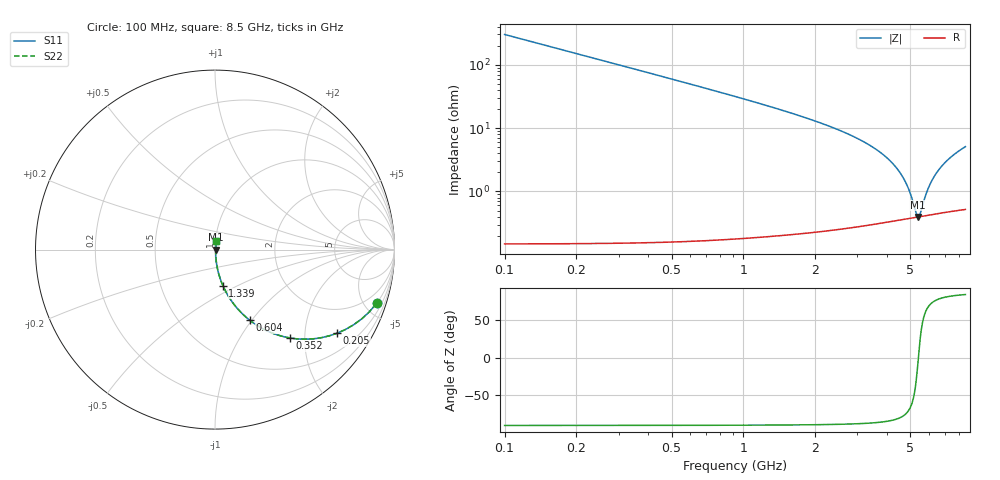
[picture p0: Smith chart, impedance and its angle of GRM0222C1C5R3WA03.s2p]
!Murata Part Number: GRM0222C1C5R3WA03
!These Parameters are Measured in Series Mode Connection
!Data Generated on Mar 30, 2021
!  o--ll--o
!Port1  Port2
!  o------o
!Operation Temp=25[degC], DC Bias Voltage=0[V]
!Freq. Start=100[MHz] Stop=9[GHz] 401[Steps]
# Hz S RI R 50
!Freq.(Hz) S11(Real) S11(Imag) S21(Real) S21(Imag) S12(Real) S12(Imag) S22(Real) S22(Imag)
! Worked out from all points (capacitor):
!   401 points, 100 MHz to 8.5 GHz, reference 50 ohm
!   read as one part in series: C = 5.3 pF near 142 MHz
!   lowest |Z| = 397 mohm at 5.392 GHz (marker M1)
!   series resonance near 5.402 GHz, so ESL is about 160 pH
!   S11 on the Smith chart (normalised r, x): 100 MHz: 1.00, -6.00; 205 MHz: 1.00, -2.93; 352 MHz: 1.00, -1.70; 604 MHz: 1.00, -0.98; 1.339 GHz: 1.00, -0.42; 8.5 GHz: 1.01, +0.10
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1e8  0.9 -0.2998  0.1 0.2998  0.1 0.2998  0.9 -0.2998
2.05e8  0.6813 -0.4655  0.3187 0.4655  0.3187 0.4655  0.6813 -0.4655
3.52e8  0.4192 -0.4925  0.5808 0.4925  0.5808 0.4925  0.4192 -0.4925
4.78e8  0.2801 -0.4478  0.7199 0.4478  0.7199 0.4478  0.2801 -0.4478
6.04e8  0.1948 -0.3944  0.8052 0.3944  0.8052 0.3944  0.1948 -0.3944
8.98e8  0.0967 -0.2928  0.9033 0.2928  0.9033 0.2928  0.0967 -0.2928
1.339e9  0.0439 -0.2003  0.9561 0.2003  0.9561 0.2003  0.0439 -0.2003
1.507e9  0.0343 -0.1765  0.9657 0.1765  0.9657 0.1765  0.0343 -0.1765
2.914e9  0.00788 -0.0717  0.9921 0.0717  0.9921 0.0717  0.00788 -0.0717
3.733e9  0.00483 -0.0412  0.9952 0.0412  0.9952 0.0412  0.00483 -0.0412
4.3e9  0.00404 -0.025  0.996 0.025  0.996 0.025  0.00404 -0.025
4.825e9  0.00383 -0.0123  0.9962 0.0123  0.9962 0.0123  0.00383 -0.0123
5.035e9  0.00384 -0.00763  0.9962 0.00763  0.9962 0.00763  0.00384 -0.00763
5.287e9  0.00391 -0.00232  0.9961 0.00232  0.9961 0.00232  0.00391 -0.00232
5.392e9  0.00395 -0.000193  0.9961 0.000193  0.9961 0.000193  0.00395 -0.000193
5.497e9  0.004 0.00189  0.996 -0.00189  0.996 -0.00189  0.004 0.00189
5.707e9  0.00413 0.00594  0.9959 -0.00594  0.9959 -0.00594  0.00413 0.00594
5.959e9  0.00432 0.0106  0.9957 -0.0106  0.9957 -0.0106  0.00432 0.0106
6.253e9  0.00459 0.0158  0.9954 -0.0158  0.9954 -0.0158  0.00459 0.0158
6.631e9  0.00499 0.0222  0.995 -0.0222  0.995 -0.0222  0.00499 0.0222
7.114e9  0.00559 0.0299  0.9944 -0.0299  0.9944 -0.0299  0.00559 0.0299
8.5e9  0.00769 0.05  0.9923 -0.05  0.9923 -0.05  0.00769 0.05
